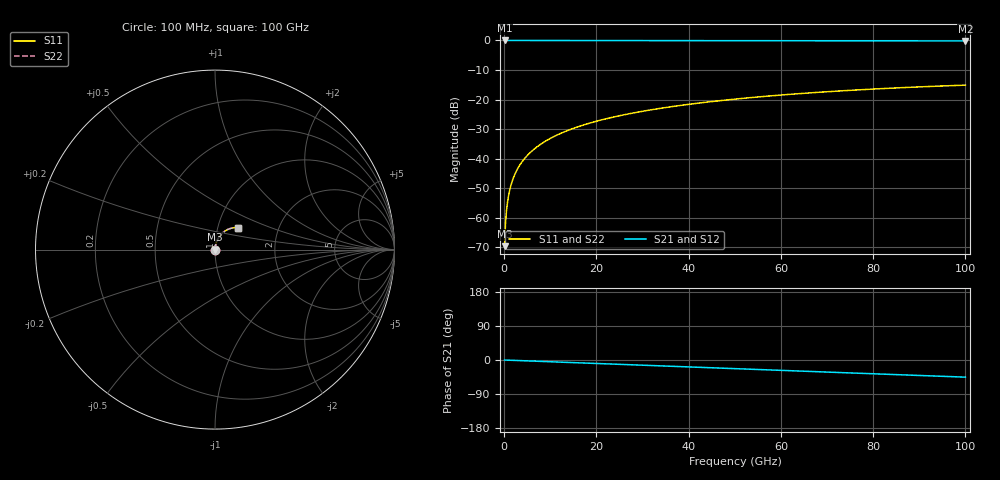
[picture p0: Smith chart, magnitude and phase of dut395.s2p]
! Touchstone file exported from HFSS 2026.1.0
!  File:  C:/ffzhzh/LocalFiles/Ansys_Project_Files/temp_train_TSV_395_1783510745_41296.aedt
!  Generated:  07:40:31 PM Jul  8, 2026
!  Design:  TSV
!  Project:  temp_train_TSV_395_1783510745_41296
! Variables:
!  h_bsmrdl = 2um
!  h_ox = 20um
!  h_rdl = 5um
!  h_sub = 88.61um
!  h_tmrdl = 5um
!  h_tsv = 88.61um
!  h_via = 3um
!  l_bsmrdl = 300um
!  l_sub = 415.78um
!  l_tmrdl = 200um
!  m_sub = 200um
!  pitch = 45.48um
!  r_tsv = 7.89um
!  s_tmrdl = 10um
!  w_bsmrdl = 18um
!  w_sub = 500um
!  w_tmrdl = 12um
!  x_tsv_center1 = 206um
!  x_tsv_center2 = 524um
!  x_tsv_center3 = 736um
!  x_tsv_center4 = 1054um
!  x_tsv_center5 = 1266um
!  x_tsv_center6 = 1584um
# GHz S MA R 50.000000
! Terminal data exported
! Port[1] = TSV1_1_T1
! Port[2] = TSV1_1_T2
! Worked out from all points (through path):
!   1000 points, 100 MHz to 100 GHz, reference 50 ohm
!   highest |S21| = 0.00 dB at 100 MHz (marker M1); lowest = -0.2 dB at 100 GHz (marker M2)
!   group delay of S21, straight-line fit = 1.26 ps
!   lowest |S11| = -69.7 dB at 100 MHz (marker M3), VSWR 1.00, Z = 50 + j0.0261 ohm
!   |S11| at or under -10 dB: start of sweep to end of sweep
!   |S22| runs from -69.7 to -15.1 dB; largest |S21 - S12| = 3.1e-15
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0.1  0.0003282 52.8  0.9998 -0.0  0.9998 -0.0  0.0003282 52.8
! Gamma 0 0 0 0
! Port Impedance 50 0 50 0
0.4  0.001046 76.0  0.9997 -0.2  0.9997 -0.2  0.001046 76.0
0.7  0.001754 79.5  0.9997 -0.3  0.9997 -0.3  0.001754 79.5
0.8  0.001985 80.2  0.9997 -0.4  0.9997 -0.4  0.001985 80.2
1  0.002445 81.1  0.9996 -0.5  0.9996 -0.5  0.002445 81.1
1.3  0.003129 82.0  0.9996 -0.6  0.9996 -0.6  0.003129 82.0
1.7  0.004032 82.6  0.9995 -0.8  0.9995 -0.8  0.004032 82.6
2.3  0.005367 83.1  0.9994 -1.1  0.9994 -1.1  0.005367 83.1
3  0.006903 83.3  0.9993 -1.4  0.9993 -1.4  0.006903 83.3
3.8  0.008641 83.5  0.9992 -1.8  0.9992 -1.8  0.008641 83.5
4.8  0.0108 83.5  0.9991 -2.2  0.9991 -2.2  0.0108 83.5
6  0.01338 83.4  0.999 -2.8  0.999 -2.8  0.01338 83.4
8.8  0.01936 82.7  0.9987 -4.1  0.9987 -4.1  0.01936 82.7
12.4  0.02698 81.5  0.9983 -5.7  0.9983 -5.7  0.02698 81.5
16.8  0.03619 79.9  0.9978 -7.7  0.9978 -7.7  0.03619 79.9
24.2  0.05146 76.9  0.9969 -11.1  0.9969 -11.1  0.05146 76.9
33.4  0.06995 73.0  0.9954 -15.3  0.9954 -15.3  0.06995 73.0
41.2  0.08509 69.6  0.994 -18.9  0.994 -18.9  0.08509 69.6
50.1  0.1017 65.7  0.9922 -22.9  0.9922 -22.9  0.1017 65.7
66.7  0.1301 58.4  0.9886 -30.4  0.9886 -30.4  0.1301 58.4
83.4  0.155 51.0  0.9847 -37.9  0.9847 -37.9  0.155 51.1
100  0.1751 43.8  0.9809 -45.3  0.9809 -45.3  0.1751 43.8
